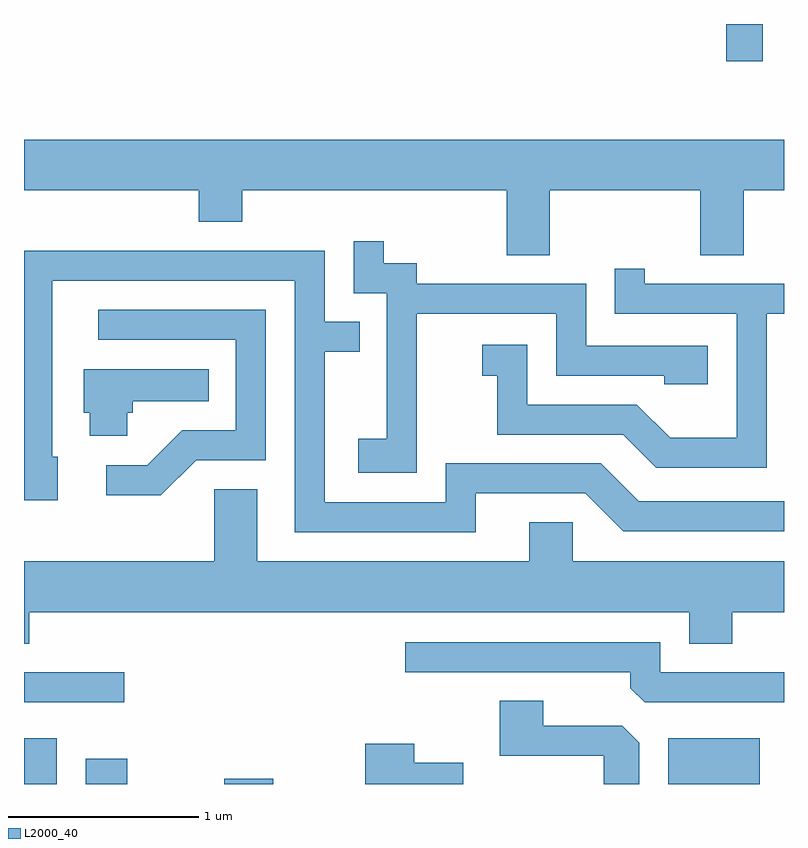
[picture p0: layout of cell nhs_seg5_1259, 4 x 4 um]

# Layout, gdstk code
import gdstk
lib = gdstk.Library(unit=1e-6, precision=1e-09)
def R(c, l, rs):  # rectangles x0, y0, x1, y1
    for r in rs: c.add(gdstk.rectangle(r[:2], r[2:], *l))
def P(c, l, *ps):  # polygons
    for p in ps: c.add(gdstk.Polygon(p, *l))
L2000_40 = (2000, 40)

nhs_seg5_1259 = lib.new_cell('nhs_seg5_1259')
R(nhs_seg5_1259, L2000_40, [(221.611,1498.072,221.784,1498.314), (221.936,1498.072,222.154,1498.204), (222.666,1498.072,222.924,1498.099), (225.001,1498.072,225.484,1498.314), (221.611,1498.501,222.138,1498.659), (225.306,1501.876,225.499,1502.072)])
P(nhs_seg5_1259, L2000_40, [(224.379,1501.196),(225.171,1501.196),(225.171,1500.856),(225.399,1500.856),(225.399,1501.196),(225.611,1501.196),(225.611,1501.464),(221.611,1501.464),(221.611,1501.196),(222.531,1501.196),(222.531,1501.031),(222.759,1501.031),(222.759,1501.196),(224.151,1501.196),(224.151,1500.856),(224.379,1500.856)],
  [(223.679,1500.546),(224.411,1500.546),(224.411,1500.221),(224.981,1500.221),(224.981,1500.176),(225.209,1500.176),(225.209,1500.379),(224.569,1500.379),(224.569,1500.704),(223.679,1500.704),(223.679,1500.814),(223.504,1500.814),(223.504,1500.928),(223.346,1500.928),(223.346,1500.656),(223.521,1500.656),(223.521,1499.889),(223.371,1499.889),(223.371,1499.711),(223.679,1499.711)],
  [(223.989,1499.601),(224.564,1499.601),(224.764,1499.401),(225.611,1499.401),(225.611,1499.559),(224.847,1499.559),(224.647,1499.759),(223.831,1499.759),(223.831,1499.554),(223.194,1499.554),(223.194,1500.346),(223.378,1500.346),(223.378,1500.504),(223.194,1500.504),(223.194,1500.879),(221.611,1500.879),(221.611,1499.566),(221.789,1499.566),(221.789,1499.794),(221.759,1499.794),(221.759,1500.721),(223.036,1500.721),(223.036,1499.396),(223.989,1499.396)],
  [(225.519,1500.546),(225.611,1500.546),(225.611,1500.704),(224.879,1500.704),(224.879,1500.783),(224.721,1500.783),(224.721,1500.546),(225.361,1500.546),(225.361,1499.894),(225.012,1499.894),(224.837,1500.069),(224.259,1500.069),(224.259,1500.384),(224.023,1500.384),(224.023,1500.221),(224.101,1500.221),(224.101,1499.911),(224.764,1499.911),(224.939,1499.736),(225.519,1499.736)],
  [(222.517,1499.776),(222.884,1499.776),(222.884,1500.569),(222.003,1500.569),(222.003,1500.411),(222.726,1500.411),(222.726,1499.934),(222.444,1499.934),(222.259,1499.749),(222.043,1499.749),(222.043,1499.591),(222.332,1499.591)],
  [(222.154,1500.026),(222.184,1500.026),(222.184,1500.086),(222.583,1500.086),(222.583,1500.254),(221.926,1500.254),(221.926,1500.026),(221.956,1500.026),(221.956,1499.906),(222.154,1499.906)],
  [(221.639,1498.976),(225.111,1498.976),(225.111,1498.811),(225.339,1498.811),(225.339,1498.976),(225.611,1498.976),(225.611,1499.244),(224.499,1499.244),(224.499,1499.449),(224.271,1499.449),(224.271,1499.244),(222.839,1499.244),(222.839,1499.624),(222.611,1499.624),(222.611,1499.244),(221.611,1499.244),(221.611,1498.811),(221.639,1498.811)],
  [(225.611,1498.659),(224.959,1498.659),(224.959,1498.819),(223.618,1498.819),(223.618,1498.661),(224.801,1498.661),(224.801,1498.577),(224.877,1498.501),(225.611,1498.501)],
  [(224.849,1498.289),(224.759,1498.379),(224.344,1498.379),(224.344,1498.509),(224.116,1498.509),(224.116,1498.221),(224.661,1498.221),(224.661,1498.072),(224.849,1498.072)],
  [(223.924,1498.184),(223.664,1498.184),(223.664,1498.284),(223.406,1498.284),(223.406,1498.072),(223.924,1498.072)])

lib.write_gds('nhs_seg5_1259.gds')
